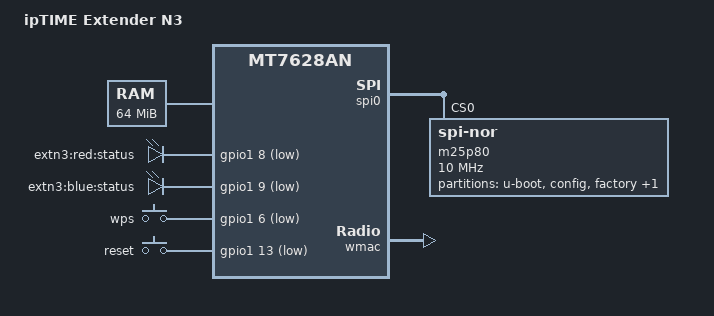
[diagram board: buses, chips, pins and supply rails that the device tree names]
/dts-v1/;

#include "mt7628an.dtsi"

#include <dt-bindings/gpio/gpio.h>
#include <dt-bindings/input/input.h>

/ {
	compatible = "iptime,extn3", "mediatek,mt7628an-soc";
	model = "ipTIME Extender N3";

	memory@0 {
		device_type = "memory";
		reg = <0x0 0x4000000>;
	};

	gpio-leds {
		compatible = "gpio-leds";

		status_red {
			label = "extn3:red:status";
			gpios = <&gpio1 8 GPIO_ACTIVE_LOW>;
		};

		status_blue {
			label = "extn3:blue:status";
			gpios = <&gpio1 9 GPIO_ACTIVE_LOW>;
		};
	};

	gpio-keys-polled {
		compatible = "gpio-keys-polled";
		#address-cells = <1>;
		#size-cells = <0>;
		poll-interval = <20>;

		wps {
			label = "wps";
			gpios = <&gpio1 6 GPIO_ACTIVE_LOW>;
			linux,code = <KEY_WPS_BUTTON>;
		};

		reset {
			label = "reset";
			gpios = <&gpio1 13 GPIO_ACTIVE_LOW>;
			linux,code = <KEY_RESTART>;
		};
	};
};

&spi0 {
	status = "okay";

	m25p80@0 {
		#address-cells = <1>;
		#size-cells = <1>;
		compatible = "jedec,spi-nor";
		reg = <0>;
		spi-max-frequency = <10000000>;
		m25p,chunked-io = <32>;

		partition@0 {
			label = "u-boot";
			reg = <0x0 0x20000>;
			read-only;
		};

		partition@20000 {
			label = "config";
			reg = <0x20000 0x10000>;
			read-only;
		};

		factory: partition@30000 {
			label = "factory";
			reg = <0x30000 0x10000>;
			read-only;
		};

		partition@40000 {
			label = "firmware";
			reg = <0x40000 0x3c0000>;
		};
	};
};

&pinctrl {
	state_default: pinctrl0 {
		gpio {
			ralink,group = "wdt", "uart1";
			ralink,function = "gpio";
		};
	};
};

&ehci {
	status = "disabled";
};

&ohci {
	status = "disabled";
};

&ethernet {
	mtd-mac-address = <&factory 0x4>;
};

&esw {
	mediatek,portdisable = <0x3e>;
};

&wmac {
	status = "okay";
};
